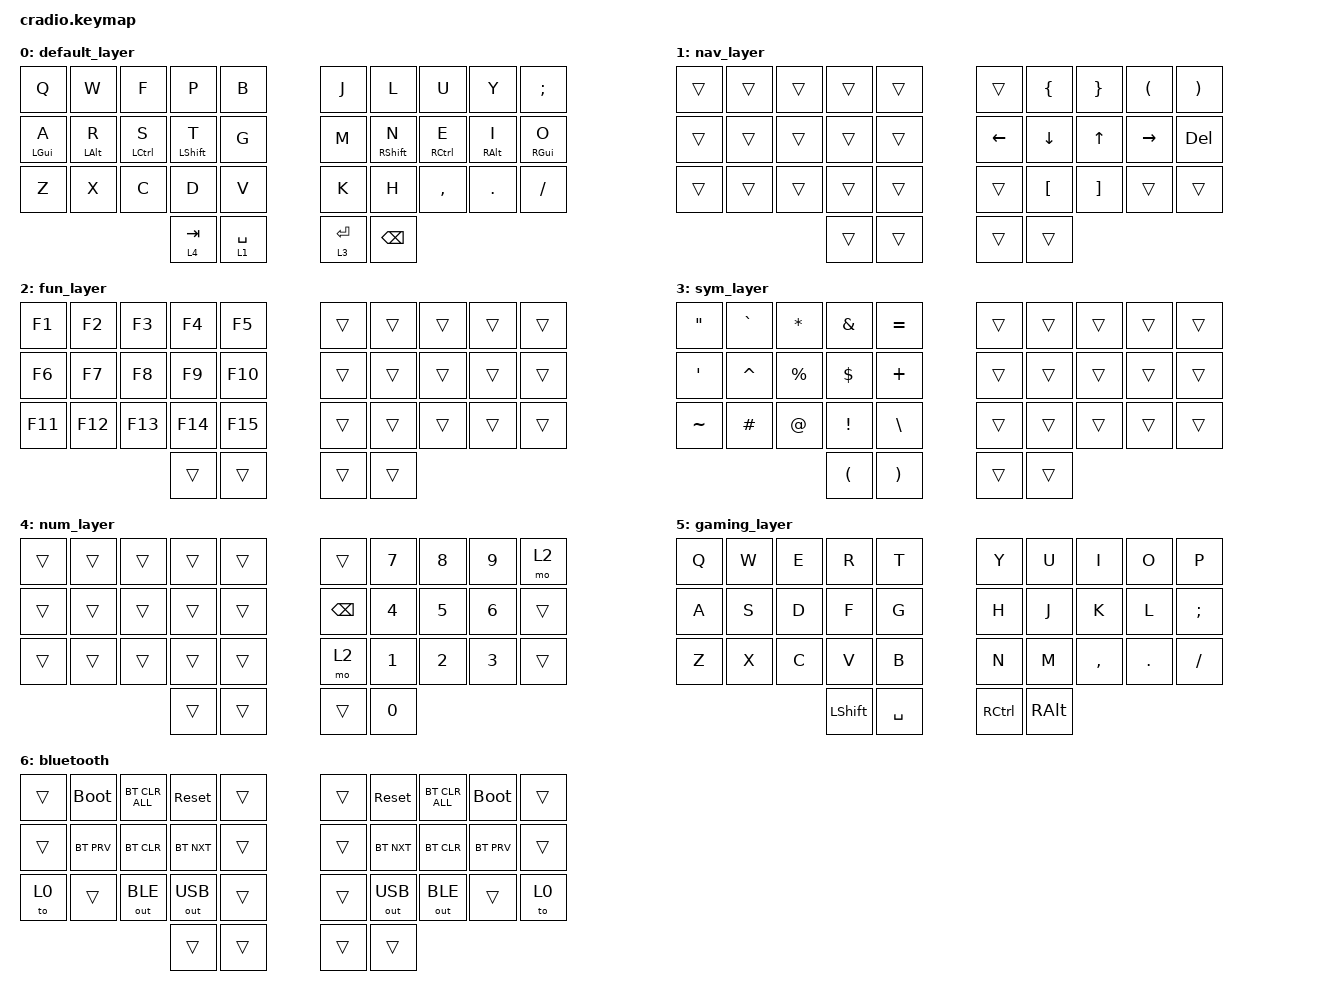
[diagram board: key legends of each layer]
/*
 * Copyright (c) 2020 The ZMK Contributors
 *
 * SPDX-License-Identifier: MIT
 */

#include <behaviors.dtsi>
#include <dt-bindings/zmk/bt.h>
#include <dt-bindings/zmk/keys.h>
#include <dt-bindings/zmk/outputs.h>

#define COLEMAK 0
#define NAV 1
#define NUM 2
#define SYM 3
#define FUN 4

/* krita base */

#define KRB 5

/* play */

#define PLAY 6

&mt {
    flavor = "tap-preferred";
    tapping_term_ms = <200>;
    quick_tap_ms = <75>;
};

/ {

output = <&bt>;

    combos {
        compatible = "zmk,combos";

        combo_caps_word {
            timeout-ms = <100>;
            key-positions = <20 29>;
            bindings = <&caps_word>;
            layers = <0 2 1 3 4>;
        };

        combo_esc {
            timeout-ms = <150>;
            key-positions = <12 13 16 17>;
            bindings = <&kp ESC>;
            layers = <0 1 2 3 4>;
        };

        // (

        combo_lpar {
            timeout-ms = <150>;
            key-positions = <4 14>;
            bindings = <&kp LPAR>;
            layers = <0 1 2 3 4>;
        };

        // )

        combo_rpar {
            timeout-ms = <150>;
            key-positions = <5 15>;
            bindings = <&kp RPAR>;
            layers = <0 1 2 3 4>;
        };

        // {

        combo_lcurly {
            timeout-ms = <150>;
            key-positions = <3 13>;
            bindings = <&kp LBRC>;
            layers = <0 1 2 3 4>;
        };

        // }

        combo_rcurly {
            timeout-ms = <150>;
            key-positions = <6 16>;
            bindings = <&kp RBRC>;
            layers = <0 1 2 3 4>;
        };

        // [

        combo_lsquare {
            timeout-ms = <150>;
            key-positions = <13 23>;
            bindings = <&kp LBKT>;
            layers = <0 1 2 3 4>;
        };

        // ]

        combo_rsquare {
            timeout-ms = <150>;
            key-positions = <16 26>;
            bindings = <&kp RBKT>;
            layers = <0 1 2 3 4>;
        };

        // <

        combo_less_than {
            timeout-ms = <150>;
            key-positions = <14 24>;
            bindings = <&kp LT>;
            layers = <0 1 2 3 4>;
        };

        // >

        combo_greater_than {
            timeout-ms = <150>;
            key-positions = <15 25>;
            bindings = <&kp GT>;
            layers = <0 1 2 3 4>;
        };

        combo_minus {
            timeout-ms = <150>;
            key-positions = <2 3 6 7>;
            bindings = <&kp MINUS>;
            layers = <0 1 2 3 4>;
        };

        combo_under {
            timeout-ms = <150>;
            key-positions = <22 23 26 27>;
            bindings = <&kp UNDER>;
            layers = <0 1 2 3 4>;
        };

        gaming_layer {
            bindings = <&tog 5>;
            key-positions = <0 9 4 5>;
            timeout-ms = <150>;
        };

        bluetooth-left {
            bindings = <&sl 6>;
            key-positions = <0 4 31>;
        };

        bluetooth-right {
            bindings = <&sl 6>;
            key-positions = <32 5 9>;
        };
    };

    keymap {
        compatible = "zmk,keymap";

        default_layer {
            bindings = <
&kp Q           &kp W           &kp F               &kp P             &kp B          &kp J        &kp L              &kp U        &kp Y            &kp SEMICOLON
&mt LEFT_GUI A  &mt LEFT_ALT R  &mt LEFT_CONTROL S  &mt LEFT_SHIFT T  &kp G          &kp M        &mt RIGHT_SHIFT N  &mt RCTRL E  &mt RIGHT_ALT I  &mt RIGHT_GUI O
&kp Z           &kp X           &kp C               &kp D             &kp V          &kp K        &kp H              &kp COMMA    &kp DOT          &kp FSLH
                                                    &lt 4 TAB         &lt 1 SPACE    &lt 3 ENTER  &kp BACKSPACE
            >;
        };

        nav_layer {
            bindings = <
&trans  &trans  &trans  &trans  &trans    &trans    &kp LBRC  &kp RBRC  &kp LPAR   &kp RPAR
&trans  &trans  &trans  &trans  &trans    &kp LEFT  &kp DOWN  &kp UP    &kp RIGHT  &kp DELETE
&trans  &trans  &trans  &trans  &trans    &trans    &kp LBKT  &kp RBKT  &trans     &trans
                        &trans  &trans    &trans    &trans
            >;
        };

        fun_layer {
            bindings = <
&kp F1   &kp F2   &kp F3   &kp F4   &kp F5     &trans  &trans  &trans  &trans  &trans
&kp F6   &kp F7   &kp F8   &kp F9   &kp F10    &trans  &trans  &trans  &trans  &trans
&kp F11  &kp F12  &kp F13  &kp F14  &kp F15    &trans  &trans  &trans  &trans  &trans
                           &trans   &trans     &trans  &trans
            >;
        };

        sym_layer {
            bindings = <
&kp DOUBLE_QUOTES  &kp GRAVE  &kp STAR   &kp AMPS  &kp EQUAL        &trans  &trans  &trans  &trans  &trans
&kp APOS           &kp CARET  &kp PRCNT  &kp DLLR  &kp PLUS         &trans  &trans  &trans  &trans  &trans
&kp TILDE          &kp HASH   &kp AT     &kp EXCL  &kp BACKSLASH    &trans  &trans  &trans  &trans  &trans
                                         &kp LPAR  &kp RPAR         &trans  &trans
            >;
        };

        num_layer {
            bindings = <
&trans  &trans  &trans  &trans  &trans    &trans    &kp N7  &kp N8  &kp N9  &mo 2
&trans  &trans  &trans  &trans  &trans    &kp BSPC  &kp N4  &kp N5  &kp N6  &trans
&trans  &trans  &trans  &trans  &trans    &mo 2     &kp N1  &kp N2  &kp N3  &trans
                        &trans  &trans    &trans    &kp N0
            >;
        };

        gaming_layer {
            bindings = <
&kp Q  &kp W  &kp E  &kp R           &kp T        &kp Y              &kp U          &kp I      &kp O       &kp P
&kp A  &kp S  &kp D  &kp F           &kp G        &kp H              &kp J          &kp K      &kp L       &kp SEMICOLON
&kp Z  &kp X  &kp C  &kp V           &kp B        &kp N              &kp M          &kp COMMA  &kp PERIOD  &kp SLASH
                     &kp LEFT_SHIFT  &kp SPACE    &kp RIGHT_CONTROL  &kp RIGHT_ALT
            >;
        };

        bluetooth {
            bindings = <
&trans  &bootloader  &bt BT_CLR_ALL  &sys_reset    &trans    &trans  &sys_reset    &bt BT_CLR_ALL  &bootloader  &trans
&trans  &bt BT_PRV   &bt BT_CLR      &bt BT_NXT    &trans    &trans  &bt BT_NXT    &bt BT_CLR      &bt BT_PRV   &trans
&to 0   &trans       &out OUT_BLE    &out OUT_USB  &trans    &trans  &out OUT_USB  &out OUT_BLE    &trans       &to 0
                                     &trans        &trans    &trans  &trans
            >;
        };
    };
};
